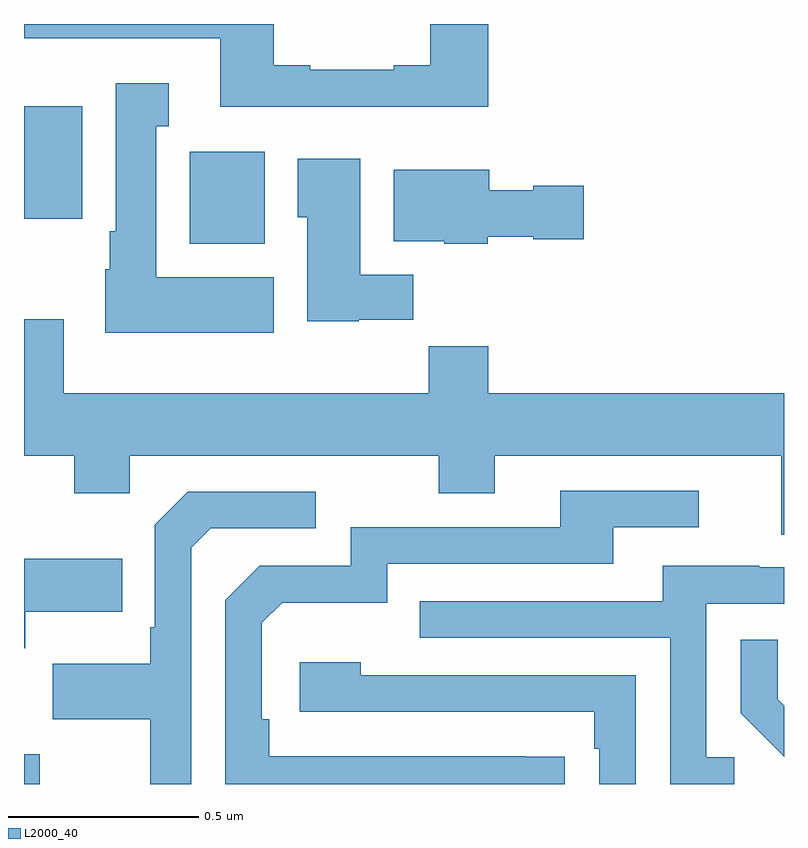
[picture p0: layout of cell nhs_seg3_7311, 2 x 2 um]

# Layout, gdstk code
import gdstk
lib = gdstk.Library(unit=1e-6, precision=1e-09)
def R(c, l, rs):  # rectangles x0, y0, x1, y1
    for r in rs: c.add(gdstk.rectangle(r[:2], r[2:], *l))
def P(c, l, *ps):  # polygons
    for p in ps: c.add(gdstk.Polygon(p, *l))
L2000_40 = (2000, 40)

nhs_seg3_7311 = lib.new_cell('nhs_seg3_7311')
R(nhs_seg3_7311, L2000_40, [(202,685.4,202.042,685.478), (202.436,686.822,202.633,687.064), (202,686.888,202.153,687.184)])
P(nhs_seg3_7311, L2000_40, [(203.222,687.4),(203.069,687.4),(203.069,687.292),(202.973,687.292),(202.973,687.279),(202.753,687.279),(202.753,687.292),(202.657,687.292),(202.657,687.4),(202,687.4),(202,687.363),(202.517,687.363),(202.517,687.182),(203.222,687.182)],
  [(202.657,686.734),(202.348,686.734),(202.348,687.131),(202.381,687.131),(202.381,687.244),(202.241,687.244),(202.241,686.854),(202.226,686.854),(202.226,686.754),(202.214,686.754),(202.214,686.588),(202.657,686.588)],
  [(202.881,686.622),(203.024,686.622),(203.024,686.74),(202.885,686.74),(202.885,687.046),(202.721,687.046),(202.721,686.892),(202.745,686.892),(202.745,686.618),(202.881,686.618)],
  [(203.22,686.84),(203.34,686.84),(203.34,686.833),(203.473,686.833),(203.473,686.975),(203.34,686.975),(203.34,686.962),(203.224,686.962),(203.224,687.016),(202.973,687.016),(202.973,686.828),(203.106,686.828),(203.106,686.822),(203.22,686.822)],
  [(204,686.428),(203.222,686.428),(203.222,686.552),(203.065,686.552),(203.065,686.428),(202.105,686.428),(202.105,686.623),(202,686.623),(202,686.264),(202.132,686.264),(202.132,686.165),(202.278,686.165),(202.278,686.264),(203.092,686.264),(203.092,686.165),(203.239,686.165),(203.239,686.264),(203.993,686.264),(203.993,686.056),(204,686.056)],
  [(203.423,685.472),(203.321,685.472),(203.321,685.473),(202.646,685.473),(202.646,685.57),(202.626,685.57),(202.626,685.824),(202.679,685.877),(202.956,685.877),(202.956,685.98),(203.551,685.98),(203.551,686.076),(203.776,686.076),(203.776,686.172),(203.411,686.172),(203.411,686.076),(202.86,686.076),(202.86,685.974),(202.62,685.974),(202.53,685.884),(202.53,685.4),(203.423,685.4)],
  [(202.44,686.022),(202.491,686.073),(202.768,686.073),(202.768,686.169),(202.431,686.169),(202.344,686.082),(202.344,685.813),(202.332,685.813),(202.332,685.717),(202.075,685.717),(202.075,685.57),(202.332,685.57),(202.332,685.4),(202.44,685.4)],
  [(202.003,685.853),(202.259,685.853),(202.259,685.993),(202,685.993),(202,685.757),(202.003,685.757)],
  [(203.869,685.47),(203.796,685.47),(203.796,685.875),(204,685.875),(204,685.971),(203.935,685.971),(203.935,685.975),(203.681,685.975),(203.681,685.881),(203.041,685.881),(203.041,685.785),(203.7,685.785),(203.7,685.4),(203.869,685.4)],
  [(204,685.606),(203.983,685.623),(203.983,685.78),(203.886,685.78),(203.886,685.586),(204,685.472)],
  [(203.61,685.686),(202.886,685.686),(202.886,685.72),(202.725,685.72),(202.725,685.59),(203.501,685.59),(203.501,685.493),(203.514,685.493),(203.514,685.4),(203.61,685.4)])

lib.write_gds('nhs_seg3_7311.gds')
